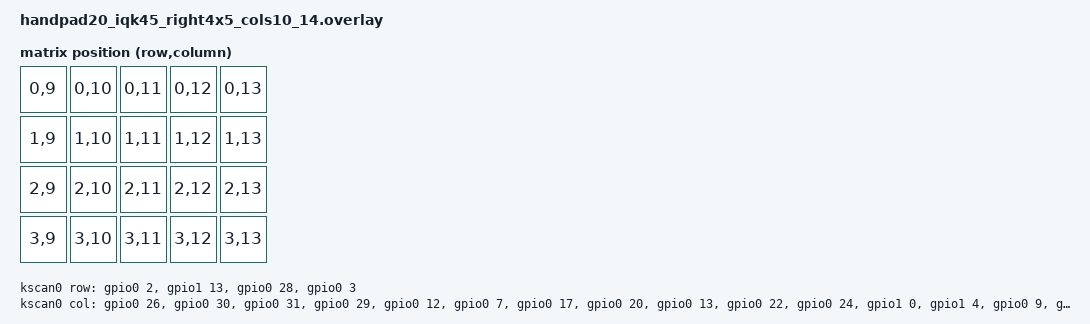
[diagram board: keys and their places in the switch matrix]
#include <dt-bindings/zmk/matrix_transform.h>

/ {
    chosen {
        zmk,kscan = &kscan0;
        zmk,matrix_transform = &default_transform;
    };

    kscan0: kscan {
        compatible = "zmk,kscan-gpio-matrix";
        label = "KSCAN";

        diode-direction = "col2row";
        wakeup-source;

        col-gpios = <&gpio0 26 GPIO_ACTIVE_HIGH>,  /* COL1 */
                    <&gpio0 30 GPIO_ACTIVE_HIGH>,  /* COL2 */
                    <&gpio0 31 GPIO_ACTIVE_HIGH>,  /* COL3 */
                    <&gpio0 29 GPIO_ACTIVE_HIGH>,  /* COL4 */
                    <&gpio0 12 GPIO_ACTIVE_HIGH>,  /* COL5 */
                    <&gpio0 7 GPIO_ACTIVE_HIGH>,   /* COL6 */
                    <&gpio0 17 GPIO_ACTIVE_HIGH>,  /* COL7 */
                    <&gpio0 20 GPIO_ACTIVE_HIGH>,  /* COL8 */
                    <&gpio0 13 GPIO_ACTIVE_HIGH>,  /* COL9 */
                    <&gpio0 22 GPIO_ACTIVE_HIGH>,  /* COL10 */
                    <&gpio0 24 GPIO_ACTIVE_HIGH>,  /* COL11 */
                    <&gpio1 0 GPIO_ACTIVE_HIGH>,   /* COL12 */
                    <&gpio1 4 GPIO_ACTIVE_HIGH>,   /* COL13 */
                    <&gpio0 9 GPIO_ACTIVE_HIGH>,   /* COL14 */
                    <&gpio1 6 GPIO_ACTIVE_HIGH>,   /* COL15 */
                    <&gpio0 10 GPIO_ACTIVE_HIGH>;  /* COL16 */

        row-gpios = <&gpio0 2 (GPIO_ACTIVE_HIGH | GPIO_PULL_DOWN)>,  /* ROW1 */
                    <&gpio1 13 (GPIO_ACTIVE_HIGH | GPIO_PULL_DOWN)>, /* ROW2 */
                    <&gpio0 28 (GPIO_ACTIVE_HIGH | GPIO_PULL_DOWN)>, /* ROW3 */
                    <&gpio0 3 (GPIO_ACTIVE_HIGH | GPIO_PULL_DOWN)>;  /* ROW4 */
    };

    default_transform: keymap_transform0 {
        compatible = "zmk,matrix-transform";
        columns = <16>;
        rows = <4>;

        map = <
            RC(0,9) RC(0,10) RC(0,11) RC(0,12) RC(0,13)
            RC(1,9) RC(1,10) RC(1,11) RC(1,12) RC(1,13)
            RC(2,9) RC(2,10) RC(2,11) RC(2,12) RC(2,13)
            RC(3,9) RC(3,10) RC(3,11) RC(3,12) RC(3,13)
        >;
    };
};
